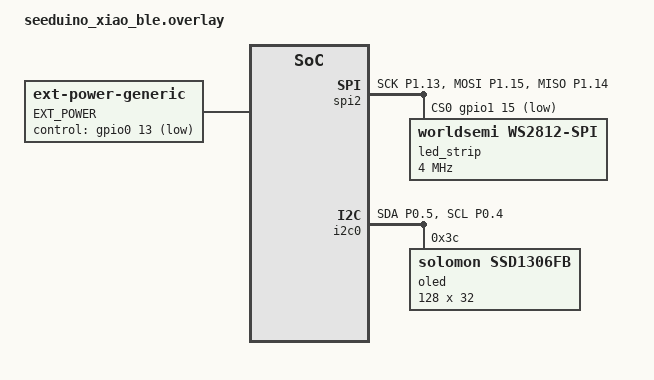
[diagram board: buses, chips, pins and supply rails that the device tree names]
#include <dt-bindings/led/led.h>

&spi2 {
	compatible = "nordic,nrf-spi";
	status = "okay";
	pinctrl-0 = <&spi2_default>;
	pinctrl-1 = <&spi2_sleep>;
	cs-gpios = <&gpio1 15 GPIO_ACTIVE_LOW>; // D10
    pinctrl-names = "default", "sleep";

	led_strip: ws2812@0 {
		compatible = "worldsemi,ws2812-spi";

		/* SPI */
		reg = <0>; /* ignored, but necessary for SPI bindings */
		spi-max-frequency = <4000000>;

		/* WS2812 */
		chain-length = <12>; /* arbitrary; change at will */
		color-mapping = <LED_COLOR_ID_GREEN
				         LED_COLOR_ID_RED
				         LED_COLOR_ID_BLUE>;
		spi-one-frame = <0x70>;
		spi-zero-frame = <0x40>;
	};
};

&i2c0 {
	compatible = "nordic,nrf-twi";
	/* Cannot be used together with spi1. */
	status = "okay";
	pinctrl-0 = <&i2c0_default>;
	pinctrl-1 = <&i2c0_sleep>;
	pinctrl-names = "default", "sleep";

  oled: ssd1306@3c {
        compatible = "solomon,ssd1306fb";
        reg = <0x3c>;
        width = <128>;
        height = <32>;
        segment-offset = <0>;
        page-offset = <0>;
        display-offset = <0>;
        multiplex-ratio = <31>;
        segment-remap;
        com-invdir;
        com-sequential;
        inversion-on;
        prechargep = <0x22>;
        ready-time-ms = <500>;
    };

};

&pinctrl {
    spi2_default: spi2_default {
		group1 {
			psels = <NRF_PSEL(SPIM_SCK, 1, 13)>,
				<NRF_PSEL(SPIM_MOSI, 1, 15)>,
				<NRF_PSEL(SPIM_MISO, 1, 14)>;
		};
	};

	spi2_sleep: spi2_sleep {
		group1 {
			psels = <NRF_PSEL(SPIM_SCK, 1, 13)>,
				<NRF_PSEL(SPIM_MOSI, 1, 15)>,
				<NRF_PSEL(SPIM_MISO, 1, 14)>;
			low-power-enable;
		};
	};

  i2c0_default: i2c0_default {
  	group1 {
  		psels = <NRF_PSEL(TWIM_SDA, 0, 5)>,
        <NRF_PSEL(TWIM_SCL, 0, 4)>;
  	};
  };
  
  i2c0_sleep: i2c0_sleep {
  	group1 {
  		psels = <NRF_PSEL(TWIM_SDA, 0, 5)>,
        <NRF_PSEL(TWIM_SCL, 0, 4)>;
  		low-power-enable;
  	};
  };
};





/ {
	chosen {
		// zmk,underglow = &led_strip;
    zephyr,display = &oled;
	};
  // Node name must match original "EXT_POWER" label to preserve user settings.
   EXT_POWER {
       compatible = "zmk,ext-power-generic";
       control-gpios = <&gpio0 13 GPIO_ACTIVE_LOW>;
       init-delay-ms = <200>;
   };
};
